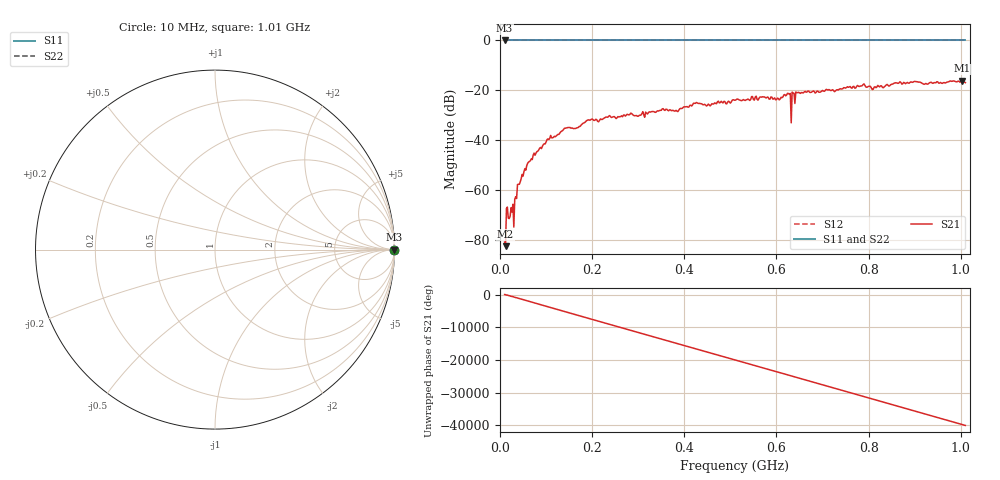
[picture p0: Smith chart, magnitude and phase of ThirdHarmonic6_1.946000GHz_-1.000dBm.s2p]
! 8/16/2025 11:26:24 PM
! C:\ANRITSUVNA\TEMP\TEMP.S2P
! CHANNEL.1
! TR.MEASUREMENT
! RAW.DATA
! RF.CORRECTION.OFF
! AVERAGING.OFF
! IF.BANDWIDTH: 5KHZ
! SWEEPTYPE:  FREQ.SWEEP(Linear)
! Reference Plane Port Info
! PORT:  PORT1  PORT2
! DISTANCE:  0  m  0  m
! TIME:  0  s  0  s
! PHASE.OFFSET:  0  deg.  0  deg.
! LOSS:  0  dB  0  dB
! REF.LOSS:  0  dB  0  dB
! REF.FREQ:  0  Hz  0  Hz
! Power Info
! POWER:  -20  dBm  -20  dBm
! EFF.POWER:  -20  dBm  -20  dBm
! SOURCE.ATTEN:  0  dB  0  dB
! TEST.ATTEN:  0  dB  0  dB
# GHZ S RI R 50.0
! FREQ.GHZ  S11RE  S11IM  S21RE  S21IM  S12RE  S12IM  S22RE  S22IM
!; PortSelection: Port_12
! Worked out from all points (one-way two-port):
!   501 points, 10 MHz to 1.01 GHz, reference 50 ohm
!   highest |S21| = -16.10 dB at 1.002 GHz (marker M1); lowest = -82.4 dB at 12 MHz (marker M2)
!   lowest |S11| = 0.0 dB at 10 MHz (marker M3)
!   |S11| at or under -10 dB: nowhere
!   |S22| runs from 0.0 to 0.0 dB; largest |S21 - S12| = 1.2
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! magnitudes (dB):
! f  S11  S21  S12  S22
! 10 MHz  0.0  -80.7  0.0  0.0
! 12 MHz  0.0  -82.4  0.0  0.0
! 18 MHz  0.0  -71.2  0.0  0.0
! 26 MHz  0.0  -68.7  0.0  0.0
! 32 MHz  0.0  -63.6  0.0  0.0
! 36 MHz  0.0  -63.3  0.0  0.0
! 42 MHz  0.0  -57.6  0.0  0.0
! 76 MHz  0.0  -46.0  0.0  0.0
! 106 MHz  0.0  -39.7  0.0  0.0
! 178 MHz  0.0  -33.6  0.0  0.0
! 344 MHz  0.0  -28.3  0.0  0.0
! 510 MHz  0.0  -23.9  0.0  0.0
! 602 MHz  0.0  -23.1  0.0  0.0
! 626 MHz  0.0  -21.2  0.0  0.0
! 628 MHz  0.0  -21.6  0.0  0.0
! 636 MHz  0.0  -21.0  0.0  0.0
! 638 MHz  0.0  -21.1  0.0  0.0
! 646 MHz  0.0  -20.9  0.0  0.0
! 678 MHz  0.0  -20.4  0.0  0.0
! 844 MHz  0.0  -18.3  0.0  0.0
! 1.002 GHz  0.0  -16.1  0.0  0.0
! 1.01 GHz  0.0  -16.9  0.0  0.0
